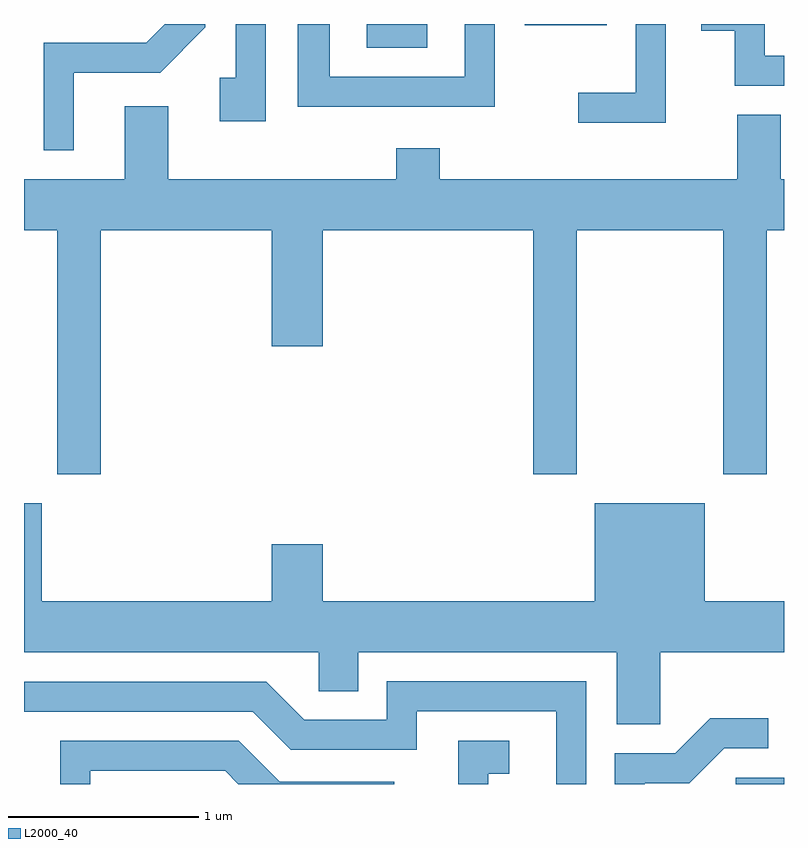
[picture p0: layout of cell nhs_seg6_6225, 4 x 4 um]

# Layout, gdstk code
import gdstk
lib = gdstk.Library(unit=1e-6, precision=1e-09)
def R(c, l, rs):  # rectangles x0, y0, x1, y1
    for r in rs: c.add(gdstk.rectangle(r[:2], r[2:], *l))
def P(c, l, *ps):  # polygons
    for p in ps: c.add(gdstk.Polygon(p, *l))
L2000_40 = (2000, 40)

nhs_seg6_6225 = lib.new_cell('nhs_seg6_6225')
R(nhs_seg6_6225, L2000_40, [(377.356,1618.162,377.611,1618.194), (375.416,1622.036,375.734,1622.162), (376.246,1622.156,376.678,1622.162)])
P(nhs_seg6_6225, L2000_40, [(376.989,1622.162),(376.831,1622.162),(376.831,1621.799),(376.528,1621.799),(376.528,1621.641),(376.989,1621.641)],
  [(373.874,1621.906),(374.327,1621.906),(374.564,1622.144),(374.564,1622.162),(374.351,1622.162),(374.254,1622.064),(373.716,1622.064),(373.716,1621.498),(373.874,1621.498)],
  [(374.884,1622.162),(374.726,1622.162),(374.726,1621.879),(374.641,1621.879),(374.641,1621.651),(374.884,1621.651)],
  [(377.611,1621.994),(377.509,1621.994),(377.509,1622.162),(377.176,1622.162),(377.176,1622.126),(377.351,1622.126),(377.351,1621.836),(377.611,1621.836)],
  [(376.089,1622.162),(375.931,1622.162),(375.931,1621.884),(375.219,1621.884),(375.219,1622.162),(375.051,1622.162),(375.051,1621.726),(376.089,1621.726)],
  [(374.014,1621.076),(374.916,1621.076),(374.916,1620.466),(375.184,1620.466),(375.184,1621.076),(376.291,1621.076),(376.291,1619.791),(376.519,1619.791),(376.519,1621.076),(377.291,1621.076),(377.291,1619.791),(377.519,1619.791),(377.519,1621.076),(377.611,1621.076),(377.611,1621.344),(377.594,1621.344),(377.594,1621.684),(377.366,1621.684),(377.366,1621.344),(375.799,1621.344),(375.799,1621.509),(375.571,1621.509),(375.571,1621.344),(374.369,1621.344),(374.369,1621.729),(374.141,1621.729),(374.141,1621.344),(373.611,1621.344),(373.611,1621.076),(373.786,1621.076),(373.786,1619.791),(374.014,1619.791)],
  [(376.959,1618.856),(377.611,1618.856),(377.611,1619.124),(377.194,1619.124),(377.194,1619.639),(376.616,1619.639),(376.616,1619.124),(375.184,1619.124),(375.184,1619.424),(374.916,1619.424),(374.916,1619.124),(373.704,1619.124),(373.704,1619.639),(373.611,1619.639),(373.611,1618.856),(375.161,1618.856),(375.161,1618.651),(375.369,1618.651),(375.369,1618.856),(376.731,1618.856),(376.731,1618.476),(376.959,1618.476)],
  [(376.569,1618.704),(375.521,1618.704),(375.521,1618.499),(375.087,1618.499),(374.887,1618.699),(373.611,1618.699),(373.611,1618.541),(374.814,1618.541),(375.014,1618.341),(375.679,1618.341),(375.679,1618.546),(376.411,1618.546),(376.411,1618.162),(376.569,1618.162)],
  [(376.879,1618.166),(377.112,1618.166),(377.297,1618.351),(377.528,1618.351),(377.528,1618.509),(377.224,1618.509),(377.039,1618.324),(376.721,1618.324),(376.721,1618.162),(376.879,1618.162)],
  [(376.054,1618.216),(376.164,1618.216),(376.164,1618.389),(375.896,1618.389),(375.896,1618.162),(376.054,1618.162)],
  [(373.959,1618.231),(374.669,1618.231),(374.738,1618.162),(375.559,1618.162),(375.559,1618.174),(374.957,1618.174),(374.742,1618.389),(373.801,1618.389),(373.801,1618.162),(373.959,1618.162)])

lib.write_gds('nhs_seg6_6225.gds')
